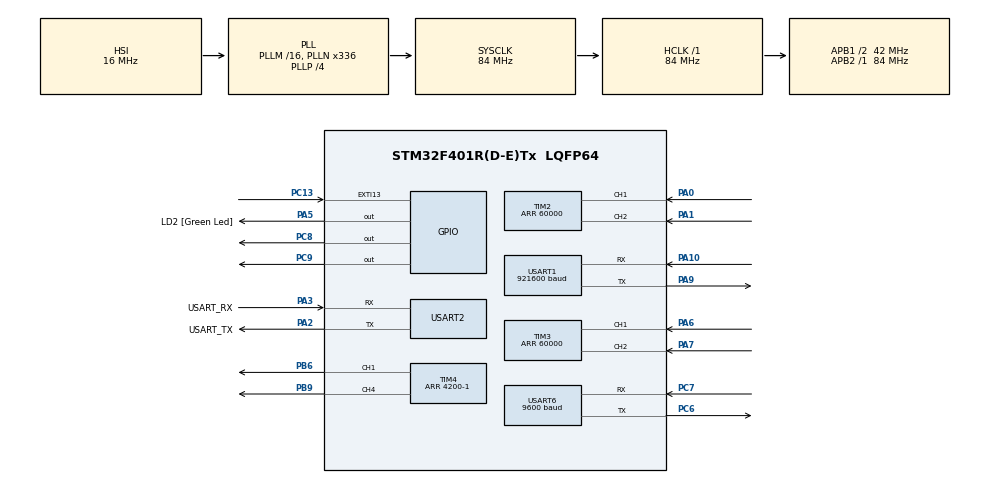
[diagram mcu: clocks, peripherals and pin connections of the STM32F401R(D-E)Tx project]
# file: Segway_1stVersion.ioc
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Dma.Request0=USART1_RX
Dma.Request1=USART6_RX
Dma.Request2=USART6_TX
Dma.USART1_RX.0.Direction=DMA_PERIPH_TO_MEMORY
Dma.USART1_RX.0.FIFOMode=DMA_FIFOMODE_DISABLE
Dma.USART1_RX.0.Instance=DMA2_Stream2
Dma.USART1_RX.0.MemDataAlignment=DMA_MDATAALIGN_BYTE
Dma.USART1_RX.0.MemInc=DMA_MINC_ENABLE
Dma.USART1_RX.0.Mode=DMA_NORMAL
Dma.USART1_RX.0.PeriphDataAlignment=DMA_PDATAALIGN_BYTE
Dma.USART1_RX.0.PeriphInc=DMA_PINC_DISABLE
Dma.USART1_RX.0.Priority=DMA_PRIORITY_HIGH
Dma.USART6_RX.1.Direction=DMA_PERIPH_TO_MEMORY
Dma.USART6_RX.1.FIFOMode=DMA_FIFOMODE_DISABLE
Dma.USART6_RX.1.Instance=DMA2_Stream1
Dma.USART6_RX.1.MemDataAlignment=DMA_MDATAALIGN_BYTE
Dma.USART6_RX.1.MemInc=DMA_MINC_ENABLE
Dma.USART6_RX.1.Mode=DMA_NORMAL
Dma.USART6_RX.1.PeriphDataAlignment=DMA_PDATAALIGN_BYTE
Dma.USART6_RX.1.PeriphInc=DMA_PINC_DISABLE
Dma.USART6_RX.1.Priority=DMA_PRIORITY_LOW
Dma.USART6_TX.2.Direction=DMA_MEMORY_TO_PERIPH
Dma.USART6_TX.2.FIFOMode=DMA_FIFOMODE_DISABLE
Dma.USART6_TX.2.Instance=DMA2_Stream6
Dma.USART6_TX.2.MemDataAlignment=DMA_MDATAALIGN_BYTE
Dma.USART6_TX.2.MemInc=DMA_MINC_ENABLE
Dma.USART6_TX.2.Mode=DMA_NORMAL
Dma.USART6_TX.2.PeriphDataAlignment=DMA_PDATAALIGN_BYTE
Dma.USART6_TX.2.PeriphInc=DMA_PINC_DISABLE
Dma.USART6_TX.2.Priority=DMA_PRIORITY_LOW
Mcu.Family=STM32F4
Mcu.Name=STM32F401R(D-E)Tx
Mcu.Package=LQFP64
NVIC.DMA2_Stream1_IRQn=true\:0\:0\:false\:false\:true\:false
NVIC.DMA2_Stream2_IRQn=true\:0\:0\:false\:false\:true\:false
NVIC.DMA2_Stream6_IRQn=true\:0\:0\:false\:false\:true\:false
NVIC.EXTI15_10_IRQn=true\:0\:0\:false\:false\:true\:true
NVIC.PriorityGroup=NVIC_PRIORITYGROUP_0
NVIC.TIM1_BRK_TIM9_IRQn=true\:0\:0\:false\:false\:true\:true
NVIC.TIM3_IRQn=true\:0\:0\:false\:false\:true\:true
NVIC.TIM4_IRQn=true\:0\:0\:false\:false\:true\:true
NVIC.USART1_IRQn=true\:0\:0\:false\:false\:true\:true
NVIC.USART6_IRQn=true\:0\:0\:false\:false\:true\:true
PA0-WKUP.Signal=S_TIM2_CH1_ETR
PA1.Signal=S_TIM2_CH2
PA10.GPIO_PuPd=GPIO_PULLUP
PA10.Mode=Asynchronous
PA10.Signal=USART1_RX
PA13.GPIO_Label=TMS
PA13.Mode=Serial_Wire
PA13.Signal=SYS_JTMS-SWDIO
PA14.GPIO_Label=TCK
PA14.Mode=Serial_Wire
PA14.Signal=SYS_JTCK-SWCLK
PA2.GPIO_Label=USART_TX
PA2.GPIO_Mode=GPIO_MODE_AF_PP
PA2.GPIO_PuPd=GPIO_NOPULL
PA2.GPIO_Speed=GPIO_SPEED_FREQ_LOW
PA2.Mode=Asynchronous
PA2.Signal=USART2_TX
PA3.GPIO_Label=USART_RX
PA3.GPIO_Mode=GPIO_MODE_AF_PP
PA3.GPIO_PuPd=GPIO_NOPULL
PA3.GPIO_Speed=GPIO_SPEED_FREQ_LOW
PA3.Mode=Asynchronous
PA3.Signal=USART2_RX
PA5.GPIO_Label=LD2 [Green Led]
PA5.GPIO_Mode=GPIO_MODE_OUTPUT_PP
PA5.GPIO_PuPd=GPIO_NOPULL
PA5.GPIO_Speed=GPIO_SPEED_FREQ_LOW
PA5.Signal=GPIO_Output
PA6.Signal=S_TIM3_CH1
PA7.Signal=S_TIM3_CH2
PA9.Mode=Asynchronous
PA9.Signal=USART1_TX
PB3.GPIO_Label=SWO
PB3.Signal=SYS_JTDO-SWO
PB6.Signal=S_TIM4_CH1
PB9.Signal=S_TIM4_CH4
PC13-ANTI_TAMP.GPIO_ModeDefaultEXTI=GPIO_MODE_IT_FALLING
PC13-ANTI_TAMP.Signal=GPXTI13
PC14-OSC32_IN.Mode=LSE-External-Oscillator
PC14-OSC32_IN.Signal=RCC_OSC32_IN
PC15-OSC32_OUT.Mode=LSE-External-Oscillator
PC15-OSC32_OUT.Signal=RCC_OSC32_OUT
PC6.Mode=Asynchronous
PC6.Signal=USART6_TX
PC7.Mode=Asynchronous
PC7.Signal=USART6_RX
PC8.Signal=GPIO_Output
PC9.Signal=GPIO_Output
PH0\ -\ OSC_IN.Mode=HSE-External-Clock-Source
PH0\ -\ OSC_IN.Signal=RCC_OSC_IN
PH1\ -\ OSC_OUT.Mode=HSE-External-Clock-Source
PH1\ -\ OSC_OUT.Signal=RCC_OSC_OUT
ProjectManager.HeapSize=0x200
ProjectManager.StackSize=0x400
ProjectManager.TargetToolchain=EWARM
RCC.48MHZClocksFreq_Value=48000000
RCC.AHBFreq_Value=84000000
RCC.APB1CLKDivider=RCC_HCLK_DIV2
RCC.APB1Freq_Value=42000000
RCC.APB1TimFreq_Value=84000000
RCC.APB2Freq_Value=84000000
RCC.APB2TimFreq_Value=84000000
RCC.CortexFreq_Value=84000000
RCC.HCLKFreq_Value=84000000
RCC.HSE_VALUE=8000000
RCC.HSI_VALUE=16000000
RCC.PLLN=336
RCC.PLLP=RCC_PLLP_DIV4
RCC.PLLQ=7
RCC.SYSCLKFreq_VALUE=84000000
RCC.SYSCLKSource=RCC_SYSCLKSOURCE_PLLCLK
RCC.VCOOutputFreq_Value=336000000
SH.S_TIM2_CH1_ETR.0=TIM2_CH1,Encoder_Interface
SH.S_TIM2_CH2.0=TIM2_CH2,Encoder_Interface
SH.S_TIM3_CH1.0=TIM3_CH1,Encoder_Interface
SH.S_TIM3_CH2.0=TIM3_CH2,Encoder_Interface
SH.S_TIM4_CH1.0=TIM4_CH1,PWM Generation1 CH1
SH.S_TIM4_CH4.0=TIM4_CH4,PWM Generation4 CH4
TIM2.EncoderMode=TIM_ENCODERMODE_TI12
TIM2.Period=60000
TIM3.EncoderMode=TIM_ENCODERMODE_TI12
TIM3.Period=60000
TIM4.Channel-PWM\ Generation1\ CH1=TIM_CHANNEL_1
TIM4.Channel-PWM\ Generation4\ CH4=TIM_CHANNEL_4
TIM4.ClockDivision=TIM_CLOCKDIVISION_DIV1
TIM4.OCFastMode_PWM-PWM\ Generation1\ CH1=TIM_OCFAST_DISABLE
TIM4.OCFastMode_PWM-PWM\ Generation4\ CH4=TIM_OCFAST_DISABLE
TIM4.OCMode_PWM-PWM\ Generation1\ CH1=TIM_OCMODE_PWM1
TIM4.OCMode_PWM-PWM\ Generation4\ CH4=TIM_OCMODE_PWM1
TIM4.OCPolarity_4=TIM_OCPOLARITY_HIGH
TIM4.Period=4200-1
TIM4.TIM_MasterSlaveMode=TIM_MASTERSLAVEMODE_DISABLE
TIM9.Period=100-1
TIM9.Prescaler=839
USART1.BaudRate=921600
USART1.Mode=MODE_RX
USART1.VirtualMode=VM_ASYNC
USART2.VirtualMode=VM_ASYNC
USART6.BaudRate=9600
USART6.VirtualMode=VM_ASYNC
VP_TIM9_VS_ClockSourceINT.Mode=Internal
board=NUCLEO-F401RE

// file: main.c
/**
  ******************************************************************************
  * @file           : main.c
  * @brief          : Main program body
  ******************************************************************************
  ** This notice applies to any and all portions of this file
  * that are not between comment pairs USER CODE BEGIN and
  * USER CODE END. Other portions of this file, whether
  * inserted by the user or by software development tools
  * are owned by their respective copyright owners.
  *
  * COPYRIGHT(c) 2020 STMicroelectronics
  *
  * Redistribution and use in source and binary forms, with or without modification,
  * are permitted provided that the following conditions are met:
  *   1. Redistributions of source code must retain the above copyright notice,
  *      this list of conditions and the following disclaimer.
  *   2. Redistributions in binary form must reproduce the above copyright notice,
  *      this list of conditions and the following disclaimer in the documentation
  *      and/or other materials provided with the distribution.
  *   3. Neither the name of STMicroelectronics nor the names of its contributors
  *      may be used to endorse or promote products derived from this software
  *      without specific prior written permission.
  *
  * THIS SOFTWARE IS PROVIDED BY THE COPYRIGHT HOLDERS AND CONTRIBUTORS "AS IS"
  * AND ANY EXPRESS OR IMPLIED WARRANTIES, INCLUDING, BUT NOT LIMITED TO, THE
  * IMPLIED WARRANTIES OF MERCHANTABILITY AND FITNESS FOR A PARTICULAR PURPOSE ARE
  * DISCLAIMED. IN NO EVENT SHALL THE COPYRIGHT HOLDER OR CONTRIBUTORS BE LIABLE
  * FOR ANY DIRECT, INDIRECT, INCIDENTAL, SPECIAL, EXEMPLARY, OR CONSEQUENTIAL
  * DAMAGES (INCLUDING, BUT NOT LIMITED TO, PROCUREMENT OF SUBSTITUTE GOODS OR
  * SERVICES; LOSS OF USE, DATA, OR PROFITS; OR BUSINESS INTERRUPTION) HOWEVER
  * CAUSED AND ON ANY THEORY OF LIABILITY, WHETHER IN CONTRACT, STRICT LIABILITY,
  * OR TORT (INCLUDING NEGLIGENCE OR OTHERWISE) ARISING IN ANY WAY OUT OF THE USE
  * OF THIS SOFTWARE, EVEN IF ADVISED OF THE POSSIBILITY OF SUCH DAMAGE.
  *
  ******************************************************************************
  */
#include "main.h"
#include "stm32f4xx_hal.h"

/* USER CODE BEGIN Includes */
#include "stdlib.h"
#include "stdio.h"
/* USER CODE END Includes */

TIM_HandleTypeDef htim2;
TIM_HandleTypeDef htim3;
TIM_HandleTypeDef htim4;
TIM_HandleTypeDef htim9;

UART_HandleTypeDef huart1;
UART_HandleTypeDef huart2;
UART_HandleTypeDef huart6;
DMA_HandleTypeDef hdma_usart1_rx;
DMA_HandleTypeDef hdma_usart6_rx;
DMA_HandleTypeDef hdma_usart6_tx;

/* USER CODE BEGIN PV */
/* Private variables ---------------------------------------------------------*/
int cnt;
int cnt2;
int cnt3;
int cnt4;
int time=3;
int Pin_State;
int Pin_State_L;
volatile int cma=0;
volatile int idx=0;
volatile int iRoll;
volatile int iYaw;
int Linearity=1;
int stayflag=0;
int spinflagL=0;
int spinflagML=0;
int spinflagR=0;
int spinflagMR=0;
int moveflagF=0;
int moveflagMF=0;
int moveflagB=0;
int moveflagMB=0;
int stableflag=0;
int tiltflag=0;

volatile int JRefThetaDot;
volatile int JThetaDot;
volatile int JTargetRoll;

volatile double dRoll;
volatile double dYaw;
volatile double PreYaw;
volatile double ErrPYaw;
volatile double RefYawDot;
volatile double RollDot;
volatile double RollDDot;
volatile double YawDot;
volatile double pYawDot;
volatile double YawDDot;
volatile double RefYawDot;
volatile double ThetaDot;
volatile double ThetaDDot;
volatile double ThetaDot2;
volatile double ThetaDDot2;
volatile double RefThetaDot;
volatile double PThetaDot;
volatile double TargetRoll=0.0;
volatile double ErrRoll;
volatile double PreErrRoll;
volatile double DeltaErrRoll=0;
volatile double TargetYaw=0.0;
volatile double ErrYawDot;
volatile double ErrSumYawDot;
volatile double PIYawDot;
volatile double ErrYawDDot;
volatile double ErrSumYawDDot;
volatile double PIYawDDot;
volatile double TargetSpeed;
volatile double TargetSpeed2;
volatile double TargetAccel;
volatile double TargetAccel2;
volatile double ErrVelocity;
volatile double ErrSpeed;
volatile double ErrAccel;
volatile double ErrSumSpeed=0;
volatile double ErrSumAccel=0;
volatile double ErrSpeed2;
volatile double ErrAccel2;
volatile double ErrSumSpeed2=0;
volatile double ErrSumAccel2=0;
double Kp=0.7; // Last Value = 0.56
double Ki=0.000000000000000001; // Last Value = 0.000000000000000001 0.000000000000000001;
double Kd=1.6; // Last Value = 1.18
double YawKp=1.8;//15
double YawKi=0.000000000000000001;
double KKp=0.045; // 0.007
double KKKp=0.1;//0.5
volatile double PD_out_Roll;
volatile double IP_out_AngleSpeed;
volatile double IP_out_AngleAccel;
volatile double IP_out_AngleSpeed2;
volatile double IP_out_AngleAccel2;

double m=0.15;
double M=2.7;
double R=0.065;
double L=0.1115;
double W=0.33;
double Jw=0.0012675;
double Jpi;
double Jm=0.0001;
double sin[46] = {0.000,0.0175,0.0349,0.0523,0.0698,0.0872,0.1045,0.1219,0.1392,0.1564,0.1736,0.1908,0.2079,0.2250,0.2419,0.2588,0.2756,0.2924,0.3090,0.3256,0.3420,0.3584,0.3746,0.3907,0.4067,0.4226,0.4384,0.4540,0.4695,0.4848,0.5,0.5150,0.5299,0.5446,0.5592,0.5736,0.5878,0.6018,0.6157,0.6293,0.6428,0.6561,0.6691,0.6820,0.6947,0.7071};
double cos[46] = {1.000,0.9998,0.9994,0.9986,0.9976,0.9962,0.9945,0.9925,0.9903,0.9877,0.9848,0.9816,0.9781,0.9744,0.9703,0.9659,0.9613,0.9563,0.9511,0.9455,0.9397,0.9336,0.9272,0.9205,0.9135,0.9063,0.8988,0.8910,0.8829,0.8746,0.8660,0.8572,0.8480,0.8387,0.8290,0.8192,0.8090,0.7986,0.7880,0.7771,0.7660,0.7547,0.7431,0.7314,0.7193,0.7071};
double n=1/14;
double Rm=0.68;
double Kt=0.039;
double Kb=0.062;
double fm=0.00041;
double fw=0;
volatile int Voltage=0;
volatile int Voltage2=0;
volatile int PreVoltage=0;
volatile int PreSpinVoltage=0;
volatile int SpinVoltage=0;
volatile int spinVoltR=0;
volatile int spinVoltL=0;
double alpha = 244.1025641;
double beta = 0.01521102041;
double gamma = 0.000001020408163;
double delta = 0.001327983193;
double varepsilon = 0.001327983193;
double mu = 0.01956825;
double rho = 0.01956722959;
double iota = 0.06517197529;
double kappa = 0.0006639915966;
double lambda = 0.0008069136746;

uint16_t Motor_CCR_R = 0;
uint16_t Motor_CCR_L = 0;
int32_t encoder_cnt_R;
int32_t encoder_R;
int32_t encoder_cnt_L;
int32_t encoder_L;
int32_t Pencoder;
volatile double Distance_L;
volatile double AngleSpeed_L;
volatile double AngleAccel_L;
volatile double Speed_L;
volatile double Speed;
volatile double Pre_Speed;
volatile double Angle_L;
volatile double Pulse_L;
volatile double Distance_R;
volatile double AngleAccel_R;
volatile double Speed_R;
volatile double Angle_R;
volatile double Pulse_R;
volatile double PAngle;

#define RX_BUFFER_SIZE          50
#define RX_BLUETOOTH_SIZE       2
#define PI              3.1415926535897932384626433832795028841

uint8_t tx_buffer[15] = "/r/n";
uint8_t rx_buffer[RX_BUFFER_SIZE];
uint8_t rx_bluetooth[RX_BLUETOOTH_SIZE];
char rx_roll[7];
char rx_yaw[7];

uint8_t tx_len;

/* USER CODE END PV */

void SystemClock_Config(void);
static void MX_GPIO_Init(void);
static void MX_DMA_Init(void);
static void MX_USART2_UART_Init(void);
static void MX_USART1_UART_Init(void);
static void MX_USART6_UART_Init(void);
static void MX_TIM3_Init(void);
static void MX_TIM4_Init(void);
static void MX_TIM9_Init(void);
static void MX_TIM2_Init(void);

void HAL_TIM_MspPostInit(TIM_HandleTypeDef *htim);

/* USER CODE BEGIN PFP */
/* Private function prototypes -----------------------------------------------*/

/* USER CODE END PFP */

/* USER CODE BEGIN 0 */

void HAL_GPIO_EXTI_Callback(uint16_t GPIO_Pin)
{
  if(GPIO_Pin == GPIO_PIN_13)
  {
    HAL_GPIO_TogglePin(LD2_GPIO_Port, LD2_Pin);
  }
}

void HAL_TIM_PeriodElapsedCallback(TIM_HandleTypeDef *htim)
{
  if(htim == &htim9)
  {
    //===================Saturation=============================================
    if(abs(iRoll)>60.0)
    {
      if( rx_buffer[49]=='S')
      {
        for(int i=0; i<sizeof(rx_buffer); i++)
        {
          rx_buffer[i] = 0;
        }
      }
      else
      {
        TIM4->CCR4 = 0; TIM4->CCR1 = 0;
        while(1);
      }
    }
    cnt++;
    cnt2++;
    cnt3++;
    cnt4++;
    //===================Encoder================================================
    encoder_cnt_L = TIM2->CNT;
    encoder_cnt_R = TIM3->CNT;
    if(encoder_cnt_L>30000) {encoder_L = encoder_cnt_L - 30000;}
    else {encoder_L = encoder_cnt_L + 30000;}
    if(encoder_cnt_R>30000) {encoder_R = encoder_cnt_R - 30000;}
    else {encoder_R = encoder_cnt_R + 30000;}
    //===================BT serial==============================================
    if(cnt3==100) // 100ms Bluetooth receive
    {
    //===================BT Flag detect=========================================
      HAL_UART_Receive_DMA(&huart6, rx_bluetooth, RX_BLUETOOTH_SIZE);
      if((rx_bluetooth[0]=='R'))
      {
        spinflagR=1;
        spinflagMR=0;
        spinflagL=0;
        spinflagML=0;
        moveflagF=0;
        moveflagMF=0;
        moveflagB=0;
        moveflagMB=0;
        stayflag=0;
      }
      else if ((rx_bluetooth[0]=='L'))
      {
        spinflagR=0;
        spinflagMR=0;
        spinflagL=1;
        spinflagML=0;
        moveflagF=0;
        moveflagMF=0;
        moveflagB=0;
        moveflagMB=0;
        stayflag=0;
      }
      else if ((rx_bluetooth[0]=='F'))
      {
        spinflagR=0;
        spinflagMR=0;
        spinflagL=0;
        spinflagML=0;
        moveflagF=1;
        moveflagMF=0;
        moveflagB=0;
        moveflagMB=0;
        stayflag=0;
      }
      else if ((rx_bluetooth[0]=='B'))
      {
        spinflagR=0;
        spinflagMR=0;
        spinflagL=0;
        spinflagML=0;
        moveflagF=0;
        moveflagMF=0;
        moveflagB=1;
        moveflagMB=0;
        stayflag=0;
      }
//=======================BT Weighted Flag=======================================
      else if ((rx_bluetooth[0]=='M'))
      {
        if((rx_bluetooth[1]=='R'))
        {
          spinflagR=0;
          spinflagMR=1;
          spinflagL=0;
          spinflagML=0;
          moveflagF=0;
          moveflagMF=0;
          moveflagB=0;
          moveflagMB=0;
          stayflag=0;
        }
        else if((rx_bluetooth[1]=='L'))
        {
          spinflagR=0;
          spinflagMR=0;
          spinflagL=0;
          spinflagML=1;
          moveflagF=0;
          moveflagMF=0;
          moveflagB=0;
          moveflagMB=0;
          stayflag=0;
        }
        else if((rx_bluetooth[1]=='F'))
        {
          spinflagR=0;
          spinflagMR=0;
          spinflagL=0;
          spinflagML=0;
          moveflagF=0;
          moveflagMF=1;
          moveflagB=0;
          moveflagMB=0;
          stayflag=0;
        }
        else if((rx_bluetooth[1]=='B'))
        {
          spinflagR=0;
          spinflagMR=0;
          spinflagL=0;
          spinflagML=0;
          moveflagF=0;
          moveflagMF=0;
          moveflagB=0;
          moveflagMB=1;
          stayflag=0;
        }
      }
      else
      {
        spinflagR=0;
        spinflagMR=0;
        spinflagL=0;
        spinflagML=0;
        moveflagF=0;
        moveflagMF=0;
        moveflagB=0;
        moveflagMB=0;
        stayflag=1;
      }
      cnt3=0;
    }
//=======================Speed P Control========================================
    if(cnt4==27)
    {
      Pencoder = (encoder_L-30000); // 제어주기동안 회전한 encoder pulse
      PAngle = Pencoder/(1064*2*PI); // deltaPulse/분해능*2PI = 제어주기동안 회전한 각도 theta[rad]

      PThetaDot = PAngle*1000/27; // 제어주기동안 움직인 각속도 rad/s
      pYawDot = dYaw*1000/27;
      if(moveflagF||moveflagB||moveflagMF||moveflagMB)
      {
        ErrVelocity = RefThetaDot - PThetaDot;
        TargetRoll = KKp*ErrVelocity;
        JRefThetaDot = RefThetaDot;
        JTargetRoll = TargetRoll;
      }
    //===================Spin P Control=========================================
      else if(spinflagR||spinflagL||spinflagMR||spinflagML)
      {
        TargetRoll=0;

        ErrPYaw = RefYawDot - pYawDot;
        TargetYaw = dYaw + KKKp*ErrPYaw;
      }
        cnt4=0;
    }
//=======================Outer Loop=============================================
    if(cnt2==9) // 9ms PD control
    {
    //===================EBIMU receive==========================================
    //===================EBIMU reset buffer=====================================
      HAL_UART_Receive_DMA(&huart1, rx_buffer, RX_BUFFER_SIZE);
      if( (rx_buffer[0] != 49) | (rx_buffer[1] != 48) | (rx_buffer[2] != 48) | (rx_buffer[3] != 45) | (rx_buffer[4] != 48) )
      {
        for(int i=0; i<sizeof(rx_buffer); i++)
        {
          rx_buffer[i] = 0;
        }
      }
      else if( rx_buffer[45]=='S')
      {
        for(int i=0; i<sizeof(rx_buffer); i++)
        {
          rx_buffer[i] = 0;
        }
      }
    //===================EBIMU receive==========================================
      for(int j=4; j<=34; j++)
      {

        if(cma==1 && (rx_buffer[j]!=','))
        {
          rx_roll[j-6] = rx_buffer[j];
        }
        if(cma==3 && (rx_buffer[j]!=','))
        {
          rx_yaw[idx] = rx_buffer[j];
          idx++;
        }
        if(rx_buffer[j]==',')
        {
          cma++;
        }
      }
      dRoll = atof(rx_roll);
      iRoll = atoi(rx_roll);

      dYaw = atof(rx_yaw);
      iYaw = atoi(rx_yaw);

      cma=0;
      idx=0;
    //===================Flag Saturation========================================
      if(iRoll>20 || iRoll<-20)
      {
        spinflagR=0;
        spinflagMR=0;
        spinflagL=0;
        spinflagML=0;
        moveflagF=0;
        moveflagMF=0;
        moveflagB=0;
        moveflagMB=0;
        stayflag=1;
      }
    //===================Flag detect============================================
    //===================Spin Control===========================================
      if(spinflagL)
      {
        RefYawDot = -1.0;
      }
      else if(spinflagR)
      {
        RefYawDot = 1.0;
      }
      else if(spinflagMR)
      {
        RefYawDot = 1.0;
      }
      else if(spinflagML)
      {
        RefYawDot = -1.0;
      }
    //===================Move Control===========================================
      else if(moveflagF)
      {
        KKp = 0.045;
        RefThetaDot = 1.2;
      }
      else if(moveflagB)
      {
        KKp = 0.045;
        RefThetaDot = -1.2;
      }
      else if(moveflagMF)
      {
        KKp = 0.05;
        RefThetaDot = 1.3;
      }
      else if(moveflagMB)
      {
        KKp = 0.05;
        RefThetaDot = -1.3;
      }
      else if(stayflag)
      {
        ErrVelocity=0;
        TargetRoll=0;
        ErrPYaw=0;
        Kp=0.7; // 0.4 0.55
        Ki=0.000000000000000001; // 1.0125 0.000000000000000001
        Kd=1.6; // 0.4 1.15 1.3
      }
      else
      {
        ErrVelocity=0;
        TargetRoll=0;
        ErrPYaw=0;
        Kp=0.7; // 0.4
        Ki=0.000000000000000001; // 1.0125 0.000000000000000001
        Kd=1.6; // 0.4
      }
    //===================PD Position Control====================================
      if (iRoll <= 10) { Linearity = 1; }
      else if (iRoll>10) { Linearity =0; }

      ErrRoll = TargetRoll - (dRoll*PI/180);
      DeltaErrRoll = ErrRoll - PreErrRoll;
      PD_out_Roll = Kp*ErrRoll + Kd*DeltaErrRoll;

      RollDot = PD_out_Roll*1000/9; // psi dot
      RollDDot = RollDot*1000/9; // psi double dot

      PreErrRoll = ErrRoll;
      cnt2=0;
    } // RollDot and RollDDot is computed which are psi_dot and psi_double_dot
//=======================Inner Loop=============================================
    if(cnt==time) // 3ms IP control
    {
    //===================ThetaDot,ThetaDDot=====================================
      Pulse_L = (encoder_L-30000); // 제어주기동안 회전한 encoder pulse
      Angle_L = Pulse_L/(1064*2*PI); // deltaPulse/분해능*2PI = 제어주기동안 회전한 각도 theta[rad]

      Pulse_R = (encoder_R - 30000);
      Angle_R = Pulse_R/(1064*2*PI);

      /*//We need not m/s but cm/s
      Distance_L = Angle_L*6.5; // 제어주기동안 움직인 거리 L = theta*r [cm]
      Distance_R = Angle_R*6.5;

      Speed_L = Distance_L/time; // 제어주기동안 움직인 속도 v = L/t [cm/s]
      Speed_R = Distance_R/time;*/

      ThetaDot = Angle_L*1000/time; // 제어주기동안 움직인 각속도 rad/s
      ThetaDot2 = Angle_R*1000/time;

      ThetaDDot = ThetaDot*1000/time; // 제어주기동안 움직인 각가속도 rad/s^2
      ThetaDDot2 = ThetaDot2*1000/time;

    //===================Linearty(when |iRoll|<10)==============================
      if(Linearity)
      {
        //Left
        TargetSpeed = ((beta*ThetaDDot+rho*RollDDot-varepsilon*RollDot)*(-1)/delta+2*Voltage/(alpha*delta));
        TargetAccel = ((rho*RollDDot+delta*ThetaDot-varepsilon*RollDot)*(-1)/beta+2*Voltage/(alpha*beta));
        //Right
        TargetSpeed2 = ((beta*ThetaDDot2+rho*RollDDot-varepsilon*RollDot)*(-1)/delta+2*Voltage/(alpha*delta));
        TargetAccel2 = ((rho*RollDDot+delta*ThetaDot2-varepsilon*RollDot)*(-1)/beta+2*Voltage/(alpha*beta));
      }
      else
      {
        //Left
        TargetSpeed = ((beta*ThetaDDot-gamma*RollDDot-varepsilon*RollDot+mu*((-1)*sin[iRoll]*RollDot*RollDot+cos[iRoll]*RollDDot))*(-1)/delta+2*Voltage/(alpha*delta));
        TargetAccel = ((-gamma*RollDDot+delta*ThetaDot-varepsilon*RollDot+mu*((-1)*sin[iRoll]*RollDot*RollDot+cos[iRoll]*RollDDot))*(-1)/beta+2*Voltage/(alpha*beta));
        //Right
        TargetSpeed2 = ((beta*ThetaDDot2-gamma*RollDDot-varepsilon*RollDot+mu*((-1)*sin[iRoll]*RollDot*RollDot+cos[iRoll]*RollDDot))*(-1)/delta+2*Voltage/(alpha*delta));
        TargetAccel2 = ((-gamma*RollDDot+delta*ThetaDot2-varepsilon*RollDot+mu*((-1)*sin[iRoll]*RollDot*RollDot+cos[iRoll]*RollDDot))*(-1)/beta+2*Voltage/(alpha*beta));
      }// W [rad/s] a [rad/s^2]
    //===================IP Speed Control=======================================
      //Left
      ErrSpeed = TargetSpeed - ThetaDot;
      ErrSumSpeed += ErrSpeed;
      IP_out_AngleSpeed = -Kp*ThetaDot + Ki*ErrSumSpeed; // IP_out_AngleSpeed은 계산을 거친 목표 AngleSpeed W [rad/s]

      ErrAccel = TargetAccel - ThetaDDot;
      ErrSumAccel += ErrAccel;
      IP_out_AngleAccel = -Kp*ThetaDDot + Ki*ErrSumAccel; // IP_out_AngleAccel 계산을 거친 목표 AngleAccel a [rad/s^2]

      //Right
      ErrSpeed2 = TargetSpeed2 - ThetaDot2;
      ErrSumSpeed2 += ErrSpeed2;
      IP_out_AngleSpeed2 = -Kp*ThetaDot2 + Ki*ErrSumSpeed2; // IP_out_AngleSpeed은 계산을 거친 목표 AngleSpeed W [rad/s]

      ErrAccel2 = TargetAccel2 - ThetaDDot2;
      ErrSumAccel2 += ErrAccel2;
      IP_out_AngleAccel2 = -Kp*ThetaDDot2 + Ki*ErrSumAccel2; // IP_out_AngleAccel 계산을 거친 목표 AngleAccel a [rad/s^2]

      JThetaDot = IP_out_AngleSpeed;
    //===================Voltage Calculate======================================
      if(Linearity)
      {
        Voltage = (alpha/2*(beta*IP_out_AngleAccel+rho*RollDDot+delta*IP_out_AngleSpeed-varepsilon*RollDot));
        Voltage2 = (alpha/2*(beta*IP_out_AngleAccel2+rho*RollDDot+delta*IP_out_AngleSpeed2-varepsilon*RollDot));
      }
      else
      {
        Voltage = (alpha*(beta*IP_out_AngleAccel-gamma*RollDDot+delta*IP_out_AngleSpeed-varepsilon*RollDot+mu*((-1)*sin[iRoll]*RollDot*RollDot+cos[iRoll]*RollDDot))/2);
        Voltage2 = (alpha*(beta*IP_out_AngleAccel2-gamma*RollDDot+delta*IP_out_AngleSpeed2-varepsilon*RollDot+mu*((-1)*sin[iRoll]*RollDot*RollDot+cos[iRoll]*RollDDot))/2);
      }
    //===================Spin left==============================================
      if(spinflagL||spinflagML)
      {
    //===================Spin Control===========================================
        YawDot = dYaw/time;
        YawDDot = YawDot/time;

        ErrYawDot = TargetYaw/time - YawDot;
        ErrSumYawDot += ErrYawDot;
        PIYawDot = YawKp*ErrYawDot + YawKi*ErrSumYawDot; // IPYawDot 계산을 거친 목표 PhiDot

        ErrYawDDot = (TargetYaw/time)/time - YawDDot;
        ErrSumYawDDot += ErrYawDDot;
        PIYawDDot = YawKp*ErrYawDDot + YawKi*ErrSumYawDDot; // IPYawDDot 계산을 거친 목표 PhiDDot

        SpinVoltage = (iota*PIYawDDot + kappa*PIYawDot)/lambda;

        //When Vr and Vl are different
        //spinVoltR = (SpinVoltage+2*Voltage2)/2;
        //spinVoltL = (2*Voltage-SpinVoltage)/2;
        spinVoltR = SpinVoltage;
        spinVoltL = SpinVoltage;

        PreSpinVoltage = spinVoltR;
    //===================Spin Direction Control=================================
        if(spinVoltL<0) { spinVoltL = spinVoltL*(-1.0); HAL_GPIO_WritePin(GPIOC,GPIO_PIN_8, GPIO_PIN_SET);} // SpinVoltL이 positive이면 반시계방향으로 바퀴가 회전
        else { HAL_GPIO_WritePin(GPIOC,GPIO_PIN_8, GPIO_PIN_RESET);}
        if(spinVoltR<0) { spinVoltR = spinVoltR*(-1.0); HAL_GPIO_WritePin(GPIOC,GPIO_PIN_9, GPIO_PIN_SET);} // SpinVoltR이 positive이면 반시계방향으로 바퀴가 회전
        else { HAL_GPIO_WritePin(GPIOC,GPIO_PIN_9, GPIO_PIN_RESET);}
      }
    //===================Spin right=============================================
      else if(spinflagR||spinflagMR)
      {
    //===================Spin Control===========================================
        YawDot = dYaw/time;
        YawDDot = YawDot/time;

        ErrYawDot = TargetYaw/time - YawDot;
        ErrSumYawDot += ErrYawDot;
        PIYawDot = YawKp*ErrYawDot + YawKi*ErrSumYawDot; // IPYawDot 계산을 거친 목표 PhiDot

        ErrYawDDot = (TargetYaw/time)/time - YawDDot;
        ErrSumYawDDot += ErrYawDDot;
        PIYawDDot = YawKp*ErrYawDDot + YawKi*ErrSumYawDDot; // IPYawDDot 계산을 거친 목표 PhiDDot

        SpinVoltage = (iota*PIYawDDot + kappa*PIYawDot)/lambda;

        //When Vr and Vl are diffenet
        //spinVoltL = (SpinVoltage+2*Voltage2)/2;
        //spinVoltR = (2*Voltage-SpinVoltage)/2;
        spinVoltR = SpinVoltage;
        spinVoltL = SpinVoltage;

        PreSpinVoltage = spinVoltL;
    //===================Spin Direction Control=================================
        if(spinVoltL<0) { spinVoltL = spinVoltL*(-1.0); HAL_GPIO_WritePin(GPIOC,GPIO_PIN_8, GPIO_PIN_RESET);} // SpinVoltL이 positive이면 반시계방향으로 바퀴가 회전
        else { HAL_GPIO_WritePin(GPIOC,GPIO_PIN_8, GPIO_PIN_SET);}
        if(spinVoltR<0) { spinVoltR = spinVoltR*(-1.0); HAL_GPIO_WritePin(GPIOC,GPIO_PIN_9, GPIO_PIN_RESET);} // SpinVoltR이 positive이면 반시계방향으로 바퀴가 회전
        else { HAL_GPIO_WritePin(GPIOC,GPIO_PIN_9, GPIO_PIN_SET);}
      }
    //===================Voltage Direction Control==============================
      else
      {
        if(Voltage<0) { Voltage = Voltage*(-1.0); HAL_GPIO_WritePin(GPIOC,GPIO_PIN_8, GPIO_PIN_SET); HAL_GPIO_WritePin(GPIOC,GPIO_PIN_9, GPIO_PIN_RESET);} // Voltage가 negative이면 positive로 바꿔준다
        else { HAL_GPIO_WritePin(GPIOC,GPIO_PIN_8, GPIO_PIN_RESET); HAL_GPIO_WritePin(GPIOC,GPIO_PIN_9, GPIO_PIN_SET);}
        if(Voltage2<0) { Voltage2 = Voltage2*(-1.0); HAL_GPIO_WritePin(GPIOC,GPIO_PIN_8, GPIO_PIN_SET); HAL_GPIO_WritePin(GPIOC,GPIO_PIN_9, GPIO_PIN_RESET);} // Voltage가 negative이면 positive로 바꿔준다
        else { HAL_GPIO_WritePin(GPIOC,GPIO_PIN_8, GPIO_PIN_RESET); HAL_GPIO_WritePin(GPIOC,GPIO_PIN_9, GPIO_PIN_SET);}
      }
      PreVoltage = Voltage;
    //===================Spin Voltage Saturation================================
      if(spinflagR||spinflagL||spinflagMR||spinflagML) {if(spinVoltR>3500.0)  {spinVoltR = 3500.0; } if(spinVoltL>3500.0) {spinVoltL = 3500.0;}}// 회전 안정성을 위해 PWM의 최댓값이 1000 그 이상이면 최대로 고정
      else {if(Voltage>4000.0)  {Voltage = 4000.0; } if(Voltage2>4000.0) {Voltage2 = 4000.0;} } // PWM의 최댓값이 3500 그 이상이면 최대로 고정
    //===================Motor PWM input========================================
      //MOTOR CCR CODE
      if(spinflagR||spinflagL||spinflagMR||spinflagML) { TIM4->CCR4 = spinVoltL; TIM4->CCR1 = spinVoltR;}
      else if (moveflagF||moveflagB||moveflagMF||moveflagMB) {TIM4->CCR4 = Voltage; TIM4->CCR1 = Voltage2; }
      else if (stayflag) {TIM4->CCR4 = Voltage; TIM4->CCR1 = Voltage2; }
      else { TIM4->CCR4 = Voltage; TIM4->CCR1 = Voltage2; }
      cnt=0;
      TIM3->CNT=0;
      TIM2->CNT=0;
    }
    //TIM4->CCR1 = Motor_CCR_R;
    //TIM4->CCR4 = Motor_CCR_L;
    //HAL_GPIO_WritePin(GPIOC,GPIO_PIN_8, GPIO_PIN_RESET);
    //HAL_GPIO_WritePin(GPIOC,GPIO_PIN_9, GPIO_PIN_SET);

    Pin_State = HAL_GPIO_ReadPin(GPIOC, GPIO_PIN_9);
    Pin_State_L = HAL_GPIO_ReadPin(GPIOC, GPIO_PIN_8);
  }
}

/* USER CODE END 0 */

int main(void)
{

  /* MCU Configuration----------------------------------------------------------*/

  /* Reset of all peripherals, Initializes the Flash interface and the Systick. */
  HAL_Init();

  /* Configure the system clock */
  SystemClock_Config();

  /* Initialize all configured peripherals */
  MX_GPIO_Init();
  MX_DMA_Init();
  MX_USART2_UART_Init();
  MX_USART1_UART_Init();
  MX_USART6_UART_Init();
  MX_TIM3_Init();
  MX_TIM4_Init();
  MX_TIM9_Init();
  MX_TIM2_Init();
  /* USER CODE BEGIN 2 */
  HAL_TIM_Base_Start_IT(&htim9);

  HAL_TIM_PWM_Start(&htim4, TIM_CHANNEL_1);
  HAL_TIM_PWM_Start(&htim4, TIM_CHANNEL_4);
  HAL_TIMEx_PWMN_Start(&htim4, TIM_CHANNEL_1);
  HAL_TIMEx_PWMN_Start(&htim4, TIM_CHANNEL_4);

  HAL_TIM_Encoder_Start(&htim3, TIM_CHANNEL_ALL);
  HAL_TIM_Encoder_Start(&htim2, TIM_CHANNEL_ALL);

  HAL_UART_Receive_DMA(&huart1, rx_buffer, RX_BUFFER_SIZE);
  HAL_UART_Receive_DMA(&huart6, rx_buffer, RX_BUFFER_SIZE);
  /* USER CODE END 2 */

  /* Infinite loop */
  while (1)
  {

  }

}

void SystemClock_Config(void)
{

  RCC_OscInitTypeDef RCC_OscInitStruct;
  RCC_ClkInitTypeDef RCC_ClkInitStruct;

    /**Configure the main internal regulator output voltage
    */
  __HAL_RCC_PWR_CLK_ENABLE();

  __HAL_PWR_VOLTAGESCALING_CONFIG(PWR_REGULATOR_VOLTAGE_SCALE2);

    /**Initializes the CPU, AHB and APB busses clocks
    */
  RCC_OscInitStruct.OscillatorType = RCC_OSCILLATORTYPE_HSI;
  RCC_OscInitStruct.HSIState = RCC_HSI_ON;
  RCC_OscInitStruct.HSICalibrationValue = 16;
  RCC_OscInitStruct.PLL.PLLState = RCC_PLL_ON;
  RCC_OscInitStruct.PLL.PLLSource = RCC_PLLSOURCE_HSI;
  RCC_OscInitStruct.PLL.PLLM = 16;
  RCC_OscInitStruct.PLL.PLLN = 336;
  RCC_OscInitStruct.PLL.PLLP = RCC_PLLP_DIV4;
  RCC_OscInitStruct.PLL.PLLQ = 7;
  if (HAL_RCC_OscConfig(&RCC_OscInitStruct) != HAL_OK)
  {
    _Error_Handler(__FILE__, __LINE__);
  }

    /**Initializes the CPU, AHB and APB busses clocks
    */
  RCC_ClkInitStruct.ClockType = RCC_CLOCKTYPE_HCLK|RCC_CLOCKTYPE_SYSCLK
                              |RCC_CLOCKTYPE_PCLK1|RCC_CLOCKTYPE_PCLK2;
  RCC_ClkInitStruct.SYSCLKSource = RCC_SYSCLKSOURCE_PLLCLK;
  RCC_ClkInitStruct.AHBCLKDivider = RCC_SYSCLK_DIV1;
  RCC_ClkInitStruct.APB1CLKDivider = RCC_HCLK_DIV2;
  RCC_ClkInitStruct.APB2CLKDivider = RCC_HCLK_DIV1;

  if (HAL_RCC_ClockConfig(&RCC_ClkInitStruct, FLASH_LATENCY_2) != HAL_OK)
  {
    _Error_Handler(__FILE__, __LINE__);
  }

    /**Configure the Systick interrupt time
    */
  HAL_SYSTICK_Config(HAL_RCC_GetHCLKFreq()/1000);

    /**Configure the Systick
    */
  HAL_SYSTICK_CLKSourceConfig(SYSTICK_CLKSOURCE_HCLK);

  /* SysTick_IRQn interrupt configuration */
  HAL_NVIC_SetPriority(SysTick_IRQn, 0, 0);
}

/* TIM2 init function */
static void MX_TIM2_Init(void)
{

  TIM_Encoder_InitTypeDef sConfig;
  TIM_MasterConfigTypeDef sMasterConfig;

  htim2.Instance = TIM2;
  htim2.Init.Prescaler = 0;
  htim2.Init.CounterMode = TIM_COUNTERMODE_UP;
  htim2.Init.Period = 60000;
  htim2.Init.ClockDivision = TIM_CLOCKDIVISION_DIV1;
  sConfig.EncoderMode = TIM_ENCODERMODE_TI12;
  sConfig.IC1Polarity = TIM_ICPOLARITY_RISING;
  sConfig.IC1Selection = TIM_ICSELECTION_DIRECTTI;
  sConfig.IC1Prescaler = TIM_ICPSC_DIV1;
  sConfig.IC1Filter = 0;
  sConfig.IC2Polarity = TIM_ICPOLARITY_RISING;
  sConfig.IC2Selection = TIM_ICSELECTION_DIRECTTI;
  sConfig.IC2Prescaler = TIM_ICPSC_DIV1;
  sConfig.IC2Filter = 0;
  if (HAL_TIM_Encoder_Init(&htim2, &sConfig) != HAL_OK)
  {
    _Error_Handler(__FILE__, __LINE__);
  }

  sMasterConfig.MasterOutputTrigger = TIM_TRGO_RESET;
  sMasterConfig.MasterSlaveMode = TIM_MASTERSLAVEMODE_DISABLE;
  if (HAL_TIMEx_MasterConfigSynchronization(&htim2, &sMasterConfig) != HAL_OK)
  {
    _Error_Handler(__FILE__, __LINE__);
  }

}

/* TIM3 init function */
static void MX_TIM3_Init(void)
{

  TIM_Encoder_InitTypeDef sConfig;
  TIM_MasterConfigTypeDef sMasterConfig;

  htim3.Instance = TIM3;
  htim3.Init.Prescaler = 0;
  htim3.Init.CounterMode = TIM_COUNTERMODE_UP;
  htim3.Init.Period = 60000;
  htim3.Init.ClockDivision = TIM_CLOCKDIVISION_DIV1;
  sConfig.EncoderMode = TIM_ENCODERMODE_TI12;
  sConfig.IC1Polarity = TIM_ICPOLARITY_RISING;
  sConfig.IC1Selection = TIM_ICSELECTION_DIRECTTI;
  sConfig.IC1Prescaler = TIM_ICPSC_DIV1;
  sConfig.IC1Filter = 0;
  sConfig.IC2Polarity = TIM_ICPOLARITY_RISING;
  sConfig.IC2Selection = TIM_ICSELECTION_DIRECTTI;
  sConfig.IC2Prescaler = TIM_ICPSC_DIV1;
  sConfig.IC2Filter = 0;
  if (HAL_TIM_Encoder_Init(&htim3, &sConfig) != HAL_OK)
  {
    _Error_Handler(__FILE__, __LINE__);
  }

  sMasterConfig.MasterOutputTrigger = TIM_TRGO_RESET;
  sMasterConfig.MasterSlaveMode = TIM_MASTERSLAVEMODE_DISABLE;
  if (HAL_TIMEx_MasterConfigSynchronization(&htim3, &sMasterConfig) != HAL_OK)
  {
    _Error_Handler(__FILE__, __LINE__);
  }

}

/* TIM4 init function */
static void MX_TIM4_Init(void)
{

  TIM_MasterConfigTypeDef sMasterConfig;
  TIM_OC_InitTypeDef sConfigOC;

  htim4.Instance = TIM4;
  htim4.Init.Prescaler = 0;
  htim4.Init.CounterMode = TIM_COUNTERMODE_UP;
  htim4.Init.Period = 4200-1;
  htim4.Init.ClockDivision = TIM_CLOCKDIVISION_DIV1;
  if (HAL_TIM_PWM_Init(&htim4) != HAL_OK)
  {
    _Error_Handler(__FILE__, __LINE__);
  }

  sMasterConfig.MasterOutputTrigger = TIM_TRGO_RESET;
  sMasterConfig.MasterSlaveMode = TIM_MASTERSLAVEMODE_DISABLE;
  if (HAL_TIMEx_MasterConfigSynchronization(&htim4, &sMasterConfig) != HAL_OK)
  {
    _Error_Handler(__FILE__, __LINE__);
  }

  sConfigOC.OCMode = TIM_OCMODE_PWM1;
  sConfigOC.Pulse = 0;
  sConfigOC.OCPolarity = TIM_OCPOLARITY_HIGH;
  sConfigOC.OCFastMode = TIM_OCFAST_DISABLE;
  if (HAL_TIM_PWM_ConfigChannel(&htim4, &sConfigOC, TIM_CHANNEL_1) != HAL_OK)
  {
    _Error_Handler(__FILE__, __LINE__);
  }

  if (HAL_TIM_PWM_ConfigChannel(&htim4, &sConfigOC, TIM_CHANNEL_4) != HAL_OK)
  {
    _Error_Handler(__FILE__, __LINE__);
  }

  HAL_TIM_MspPostInit(&htim4);

}

/* TIM9 init function */
static void MX_TIM9_Init(void)
{

  TIM_ClockConfigTypeDef sClockSourceConfig;

  htim9.Instance = TIM9;
  htim9.Init.Prescaler = 839;
  htim9.Init.CounterMode = TIM_COUNTERMODE_UP;
  htim9.Init.Period = 100-1;
  htim9.Init.ClockDivision = TIM_CLOCKDIVISION_DIV1;
  if (HAL_TIM_Base_Init(&htim9) != HAL_OK)
  {
    _Error_Handler(__FILE__, __LINE__);
  }

  sClockSourceConfig.ClockSource = TIM_CLOCKSOURCE_INTERNAL;
  if (HAL_TIM_ConfigClockSource(&htim9, &sClockSourceConfig) != HAL_OK)
  {
    _Error_Handler(__FILE__, __LINE__);
  }

}

/* USART1 init function */
static void MX_USART1_UART_Init(void)
{

  huart1.Instance = USART1;
  huart1.Init.BaudRate = 921600;
  huart1.Init.WordLength = UART_WORDLENGTH_8B;
  huart1.Init.StopBits = UART_STOPBITS_1;
  huart1.Init.Parity = UART_PARITY_NONE;
  huart1.Init.Mode = UART_MODE_RX;
  huart1.Init.HwFlowCtl = UART_HWCONTROL_NONE;
  huart1.Init.OverSampling = UART_OVERSAMPLING_16;
  if (HAL_UART_Init(&huart1) != HAL_OK)
  {
    _Error_Handler(__FILE__, __LINE__);
  }

}

/* USART2 init function */
static void MX_USART2_UART_Init(void)
{

  huart2.Instance = USART2;
  huart2.Init.BaudRate = 115200;
  huart2.Init.WordLength = UART_WORDLENGTH_8B;
  huart2.Init.StopBits = UART_STOPBITS_1;
  huart2.Init.Parity = UART_PARITY_NONE;
  huart2.Init.Mode = UART_MODE_TX_RX;
  huart2.Init.HwFlowCtl = UART_HWCONTROL_NONE;
  huart2.Init.OverSampling = UART_OVERSAMPLING_16;
  if (HAL_UART_Init(&huart2) != HAL_OK)
  {
    _Error_Handler(__FILE__, __LINE__);
  }

}

/* USART6 init function */
static void MX_USART6_UART_Init(void)
{

  huart6.Instance = USART6;
  huart6.Init.BaudRate = 9600;
  huart6.Init.WordLength = UART_WORDLENGTH_8B;
  huart6.Init.StopBits = UART_STOPBITS_1;
  huart6.Init.Parity = UART_PARITY_NONE;
  huart6.Init.Mode = UART_MODE_TX_RX;
  huart6.Init.HwFlowCtl = UART_HWCONTROL_NONE;
  huart6.Init.OverSampling = UART_OVERSAMPLING_16;
  if (HAL_UART_Init(&huart6) != HAL_OK)
  {
    _Error_Handler(__FILE__, __LINE__);
  }

}

static void MX_DMA_Init(void)
{
  /* DMA controller clock enable */
  __HAL_RCC_DMA2_CLK_ENABLE();

  /* DMA interrupt init */
  /* DMA2_Stream1_IRQn interrupt configuration */
  HAL_NVIC_SetPriority(DMA2_Stream1_IRQn, 0, 0);
  HAL_NVIC_EnableIRQ(DMA2_Stream1_IRQn);
  /* DMA2_Stream2_IRQn interrupt configuration */
  HAL_NVIC_SetPriority(DMA2_Stream2_IRQn, 0, 0);
  HAL_NVIC_EnableIRQ(DMA2_Stream2_IRQn);
  /* DMA2_Stream6_IRQn interrupt configuration */
  HAL_NVIC_SetPriority(DMA2_Stream6_IRQn, 0, 0);
  HAL_NVIC_EnableIRQ(DMA2_Stream6_IRQn);

}

/** Configure pins as
        * Analog
        * Input
        * Output
        * EVENT_OUT
        * EXTI
*/
static void MX_GPIO_Init(void)
{

  GPIO_InitTypeDef GPIO_InitStruct;

  /* GPIO Ports Clock Enable */
  __HAL_RCC_GPIOC_CLK_ENABLE();
  __HAL_RCC_GPIOH_CLK_ENABLE();
  __HAL_RCC_GPIOA_CLK_ENABLE();
  __HAL_RCC_GPIOB_CLK_ENABLE();

  /*Configure GPIO pin Output Level */
  HAL_GPIO_WritePin(LD2_GPIO_Port, LD2_Pin, GPIO_PIN_RESET);

  /*Configure GPIO pin Output Level */
  HAL_GPIO_WritePin(GPIOC, GPIO_PIN_8|GPIO_PIN_9, GPIO_PIN_RESET);

  /*Configure GPIO pin : PC13 */
  GPIO_InitStruct.Pin = GPIO_PIN_13;
  GPIO_InitStruct.Mode = GPIO_MODE_IT_FALLING;
  GPIO_InitStruct.Pull = GPIO_NOPULL;
  HAL_GPIO_Init(GPIOC, &GPIO_InitStruct);

  /*Configure GPIO pin : LD2_Pin */
  GPIO_InitStruct.Pin = LD2_Pin;
  GPIO_InitStruct.Mode = GPIO_MODE_OUTPUT_PP;
  GPIO_InitStruct.Pull = GPIO_NOPULL;
  GPIO_InitStruct.Speed = GPIO_SPEED_FREQ_LOW;
  HAL_GPIO_Init(LD2_GPIO_Port, &GPIO_InitStruct);

  /*Configure GPIO pins : PC8 PC9 */
  GPIO_InitStruct.Pin = GPIO_PIN_8|GPIO_PIN_9;
  GPIO_InitStruct.Mode = GPIO_MODE_OUTPUT_PP;
  GPIO_InitStruct.Pull = GPIO_NOPULL;
  GPIO_InitStruct.Speed = GPIO_SPEED_FREQ_LOW;
  HAL_GPIO_Init(GPIOC, &GPIO_InitStruct);

  /* EXTI interrupt init*/
  HAL_NVIC_SetPriority(EXTI15_10_IRQn, 0, 0);
  HAL_NVIC_EnableIRQ(EXTI15_10_IRQn);

}

void _Error_Handler(char *file, int line)
{
  while(1)
  {
  }
}

/************************ (C) COPYRIGHT STMicroelectronics *****END OF FILE****/
